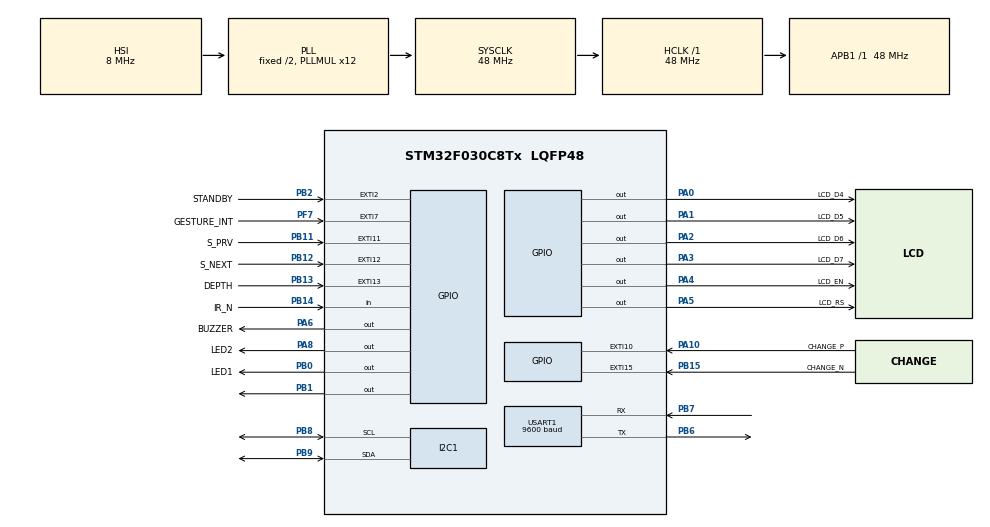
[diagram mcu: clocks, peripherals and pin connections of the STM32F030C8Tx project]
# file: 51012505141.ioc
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FREERTOS.Tasks01=GestureManager,8,128,GestureManagerTask,Default,NULL,Dynamic,NULL,NULL;InputManager,40,128,InputManagerTask,Default,NULL,Dynamic,NULL,NULL
FREERTOS.configTOTAL_HEAP_SIZE=2048
I2C1.Timing=0x10805D88
Mcu.Family=STM32F0
Mcu.Name=STM32F030C8Tx
Mcu.Package=LQFP48
NVIC.EXTI4_15_IRQn=true\:3\:0\:false\:false\:true\:true\:true\:true\:true
NVIC.USART1_IRQn=true\:3\:0\:false\:false\:true\:true\:true\:true\:true
PA0.GPIO_Label=LCD_D4
PA0.Signal=GPIO_Output
PA1.GPIO_Label=LCD_D5
PA1.Signal=GPIO_Output
PA10.GPIO_Label=CHANGE_P
PA10.GPIO_ModeDefaultEXTI=GPIO_MODE_IT_RISING_FALLING
PA10.Signal=GPXTI10
PA13.Mode=Serial_Wire
PA13.Signal=SYS_SWDIO
PA14.Mode=Serial_Wire
PA14.Signal=SYS_SWCLK
PA2.GPIO_Label=LCD_D6
PA2.Signal=GPIO_Output
PA3.GPIO_Label=LCD_D7
PA3.Signal=GPIO_Output
PA4.GPIO_Label=LCD_EN
PA4.Signal=GPIO_Output
PA5.GPIO_Label=LCD_RS
PA5.Signal=GPIO_Output
PA6.GPIO_Label=BUZZER
PA6.Signal=GPIO_Output
PA8.GPIO_Label=LED2
PA8.Signal=GPIO_Output
PB0.GPIO_Label=LED1
PB0.Signal=GPIO_Output
PB1.Signal=GPIO_Output
PB11.GPIO_Label=S_PRV
PB11.GPIO_ModeDefaultEXTI=GPIO_MODE_IT_RISING_FALLING
PB11.Signal=GPXTI11
PB12.GPIO_Label=S_NEXT
PB12.GPIO_ModeDefaultEXTI=GPIO_MODE_IT_RISING_FALLING
PB12.Signal=GPXTI12
PB13.GPIO_Label=DEPTH
PB13.GPIO_ModeDefaultEXTI=GPIO_MODE_IT_RISING_FALLING
PB13.Signal=GPXTI13
PB14.GPIO_Label=IR_N
PB14.Signal=GPIO_Input
PB15.GPIO_Label=CHANGE_N
PB15.GPIO_ModeDefaultEXTI=GPIO_MODE_IT_RISING_FALLING
PB15.Signal=GPXTI15
PB2.GPIO_Label=STANDBY
PB2.GPIO_ModeDefaultEXTI=GPIO_MODE_IT_RISING_FALLING
PB2.Signal=GPXTI2
PB6.Mode=Asynchronous
PB6.Signal=USART1_TX
PB7.Mode=Asynchronous
PB7.Signal=USART1_RX
PB8.Mode=I2C
PB8.Signal=I2C1_SCL
PB9.Mode=I2C
PB9.Signal=I2C1_SDA
PF7.GPIO_Label=GESTURE_INT
PF7.GPIO_PuPd=GPIO_PULLUP
PF7.Signal=GPXTI7
ProjectManager.HeapSize=0x200
ProjectManager.StackSize=0x400
ProjectManager.TargetToolchain=STM32CubeIDE
RCC.AHBFreq_Value=48000000
RCC.APB1Freq_Value=48000000
RCC.APB1TimFreq_Value=48000000
RCC.HCLKFreq_Value=48000000
RCC.I2c1ClockSelection=RCC_I2C1CLKSOURCE_SYSCLK
RCC.PLLMUL=RCC_PLL_MUL12
RCC.SYSCLKFreq_VALUE=48000000
RCC.SYSCLKSource=RCC_SYSCLKSOURCE_PLLCLK
USART1.BaudRate=9600
USART1.Mode=MODE_TX
USART1.VirtualMode-Asynchronous=VM_ASYNC
VP_FREERTOS_VS_CMSIS_V2.Mode=CMSIS_V2
board=custom

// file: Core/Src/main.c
/* USER CODE BEGIN Header */
/**
 ******************************************************************************
 * @file           : main.c
 * @brief          : Main program body
 ******************************************************************************
 * @attention
 *
 * Copyright (c) 2025 STMicroelectronics.
 * All rights reserved.
 *
 * This software is licensed under terms that can be found in the LICENSE file
 * in the root directory of this software component.
 * If no LICENSE file comes with this software, it is provided AS-IS.
 *
 ******************************************************************************
 */
/* USER CODE END Header */
#include "main.h"
#include "cmsis_os.h"

/* USER CODE BEGIN Includes */
#include <stdio.h>      // Needed for printf
#include "gesture.h"  // Ensure this header is included
//#include "gesture.h"
/* USER CODE END Includes */

I2C_HandleTypeDef hi2c1;

UART_HandleTypeDef huart1;

/* Definitions for GestureManager */
osThreadId_t GestureManagerHandle;
const osThreadAttr_t GestureManager_attributes = {
  .name = "GestureManager",
  .stack_size = 128 * 4,
  .priority = (osPriority_t) osPriorityLow,
};
/* Definitions for InputManager */
osThreadId_t InputManagerHandle;
const osThreadAttr_t InputManager_attributes = {
  .name = "InputManager",
  .stack_size = 128 * 4,
  .priority = (osPriority_t) osPriorityHigh,
};

void SystemClock_Config(void);
static void MX_GPIO_Init(void);
static void MX_USART1_UART_Init(void);
static void MX_I2C1_Init(void);
void GestureManagerTask(void *argument);
void InputManagerTask(void *argument);

/* USER CODE BEGIN 0 */

uint8_t ges_type = 0;
void MyGestureEventHandler(InputAction event) {
	InputEvent input_event = { .source = INPUT_SOURCE_GESTURE };

	// Map gesture events to input actions
	switch (event) {
	case INPUT_MOVE_DOWN:
		input_event.action = INPUT_MOVE_DOWN;
		ges_type = 1;
		break;

	case INPUT_MOVE_UP:
		input_event.action = INPUT_MOVE_UP;
		ges_type = 0;
		break;

	case INPUT_BACK:
		input_event.action = INPUT_BACK;
		ges_type = 2;
		break;

	case INPUT_SELECT:
		input_event.action = INPUT_SELECT;
		ges_type = 3;
		break;

	default:
		return; // Ignore unknown gestures
	}

	// Enqueue the mapped input event
	enqueue_event(input_event);
}

void HAL_GPIO_EXTI_Callback(uint16_t GPIO_Pin) {
	ButtonManager_HandleInterrupt(GPIO_Pin); // Forward the interrupt to the Button Manager
}

void MyButtonEventHandler(ButtonEvent *event) {
	InputEvent input_event = { .source = INPUT_SOURCE_BUTTON }; // For input manager add data to queue

	// Map button ID and action to input events
	switch (event->action) {
	case BUTTON_ACTION_SHORT_PRESS:
		input_event.action =
				(event->button_id == 1) ? INPUT_MOVE_DOWN :
				(event->button_id == 0) ? INPUT_MOVE_UP :
				(event->button_id == 2) ? INPUT_SELECT :
				(event->button_id == 3) ? INPUT_BACK : INPUT_DEPTH; // DEPTH for button_id 4
		break;

//	case BUTTON_ACTION_LONG_PRESS:
//		input_event.action =
//				(event->button_id == 0) ? INPUT_LONG_MOVE_DOWN :
//				(event->button_id == 1) ? INPUT_LONG_MOVE_UP :
//				(event->button_id == 2) ? INPUT_LONG_SELECT :
//				(event->button_id == 3) ? INPUT_LONG_BACK : INPUT_LONG_DEPTH; // Long DEPTH for button_id 4
//		break;
	}

	enqueue_event(input_event); // Enqueue the mapped input event
}

int __io_putchar(int ch) {
//    HAL_UART_Transmit(&huart2, (uint8_t *)&ch, 1, HAL_MAX_DELAY);
    return ch;
}

extern volatile uint8_t newData;

void ResetUART(void) {
	 HAL_UART_DeInit(&huart1);
	 MX_USART1_UART_Init();
	  HAL_UART_Receive_IT(&huart1, getRxBuffer(), 1);
}
/* USER CODE END 0 */

int main(void)
{

  /* MCU Configuration--------------------------------------------------------*/

  /* Reset of all peripherals, Initializes the Flash interface and the Systick. */
  HAL_Init();

  /* Configure the system clock */
  SystemClock_Config();

  /* Initialize all configured peripherals */
  MX_GPIO_Init();
  MX_USART1_UART_Init();
  MX_I2C1_Init();

  /* Init scheduler */
  osKernelInitialize();

  /* USER CODE BEGIN RTOS_SEMAPHORES */
	/* add semaphores, ... */
//  ResetUART();
  /* USER CODE END RTOS_SEMAPHORES */

  /* Create the thread(s) */
  /* creation of GestureManager */
  GestureManagerHandle = osThreadNew(GestureManagerTask, NULL, &GestureManager_attributes);

  /* creation of InputManager */
  InputManagerHandle = osThreadNew(InputManagerTask, NULL, &InputManager_attributes);

  /* USER CODE BEGIN RTOS_THREADS */
	/* add threads, ... */
	ButtonManager_Init(MyButtonEventHandler);

  /* USER CODE END RTOS_THREADS */

  /* USER CODE BEGIN RTOS_EVENTS */
	/* add events, ... */

	 UART_Packet_Init(&huart1);
//	 initI2CSemaphore();  // Create the semaphore
  /* USER CODE END RTOS_EVENTS */

  /* Start scheduler */
  osKernelStart();

  /* We should never get here as control is now taken by the scheduler */

  /* Infinite loop */
  /* USER CODE BEGIN WHILE */
	while (1) {
		if (isDataReady()) {
			uint8_t *rxData = getRxBuffer(); // Retrieve the buffer pointer
			process_uart_command((const char *)rxData);
			resetDataReady();
		}

    /* USER CODE END WHILE */

	}
}

void SystemClock_Config(void)
{
  RCC_OscInitTypeDef RCC_OscInitStruct = {0};
  RCC_ClkInitTypeDef RCC_ClkInitStruct = {0};
  RCC_PeriphCLKInitTypeDef PeriphClkInit = {0};

  /** Initializes the RCC Oscillators according to the specified parameters
  * in the RCC_OscInitTypeDef structure.
  */
  RCC_OscInitStruct.OscillatorType = RCC_OSCILLATORTYPE_HSI;
  RCC_OscInitStruct.HSIState = RCC_HSI_ON;
  RCC_OscInitStruct.HSICalibrationValue = RCC_HSICALIBRATION_DEFAULT;
  RCC_OscInitStruct.PLL.PLLState = RCC_PLL_ON;
  RCC_OscInitStruct.PLL.PLLSource = RCC_PLLSOURCE_HSI;
  RCC_OscInitStruct.PLL.PLLMUL = RCC_PLL_MUL12;
  RCC_OscInitStruct.PLL.PREDIV = RCC_PREDIV_DIV1;
  if (HAL_RCC_OscConfig(&RCC_OscInitStruct) != HAL_OK)
  {
    Error_Handler();
  }

  /** Initializes the CPU, AHB and APB buses clocks
  */
  RCC_ClkInitStruct.ClockType = RCC_CLOCKTYPE_HCLK|RCC_CLOCKTYPE_SYSCLK
                              |RCC_CLOCKTYPE_PCLK1;
  RCC_ClkInitStruct.SYSCLKSource = RCC_SYSCLKSOURCE_PLLCLK;
  RCC_ClkInitStruct.AHBCLKDivider = RCC_SYSCLK_DIV1;
  RCC_ClkInitStruct.APB1CLKDivider = RCC_HCLK_DIV1;

  if (HAL_RCC_ClockConfig(&RCC_ClkInitStruct, FLASH_LATENCY_1) != HAL_OK)
  {
    Error_Handler();
  }
  PeriphClkInit.PeriphClockSelection = RCC_PERIPHCLK_USART1|RCC_PERIPHCLK_I2C1;
  PeriphClkInit.Usart1ClockSelection = RCC_USART1CLKSOURCE_PCLK1;
  PeriphClkInit.I2c1ClockSelection = RCC_I2C1CLKSOURCE_SYSCLK;
  if (HAL_RCCEx_PeriphCLKConfig(&PeriphClkInit) != HAL_OK)
  {
    Error_Handler();
  }
}

static void MX_I2C1_Init(void)
{

  hi2c1.Instance = I2C1;
  hi2c1.Init.Timing = 0x10805D88;
  hi2c1.Init.OwnAddress1 = 0;
  hi2c1.Init.AddressingMode = I2C_ADDRESSINGMODE_7BIT;
  hi2c1.Init.DualAddressMode = I2C_DUALADDRESS_DISABLE;
  hi2c1.Init.OwnAddress2 = 0;
  hi2c1.Init.OwnAddress2Masks = I2C_OA2_NOMASK;
  hi2c1.Init.GeneralCallMode = I2C_GENERALCALL_DISABLE;
  hi2c1.Init.NoStretchMode = I2C_NOSTRETCH_DISABLE;
  if (HAL_I2C_Init(&hi2c1) != HAL_OK)
  {
    Error_Handler();
  }

  /** Configure Analogue filter
  */
  if (HAL_I2CEx_ConfigAnalogFilter(&hi2c1, I2C_ANALOGFILTER_ENABLE) != HAL_OK)
  {
    Error_Handler();
  }

  /** Configure Digital filter
  */
  if (HAL_I2CEx_ConfigDigitalFilter(&hi2c1, 0) != HAL_OK)
  {
    Error_Handler();
  }

}

static void MX_USART1_UART_Init(void)
{

  huart1.Instance = USART1;
  huart1.Init.BaudRate = 9600;
  huart1.Init.WordLength = UART_WORDLENGTH_8B;
  huart1.Init.StopBits = UART_STOPBITS_1;
  huart1.Init.Parity = UART_PARITY_NONE;
  huart1.Init.Mode = UART_MODE_TX;
  huart1.Init.HwFlowCtl = UART_HWCONTROL_NONE;
  huart1.Init.OverSampling = UART_OVERSAMPLING_16;
  huart1.Init.OneBitSampling = UART_ONE_BIT_SAMPLE_DISABLE;
  huart1.AdvancedInit.AdvFeatureInit = UART_ADVFEATURE_NO_INIT;
  if (HAL_UART_Init(&huart1) != HAL_OK)
  {
    Error_Handler();
  }

}

static void MX_GPIO_Init(void)
{
  GPIO_InitTypeDef GPIO_InitStruct = {0};

  /* GPIO Ports Clock Enable */
  __HAL_RCC_GPIOA_CLK_ENABLE();
  __HAL_RCC_GPIOB_CLK_ENABLE();
  __HAL_RCC_GPIOF_CLK_ENABLE();

  /*Configure GPIO pin Output Level */
  HAL_GPIO_WritePin(GPIOA, LCD_D4_Pin|LCD_D5_Pin|LCD_D6_Pin|LCD_D7_Pin
                          |LCD_EN_Pin|LCD_RS_Pin|BUZZER_Pin|LED2_Pin, GPIO_PIN_RESET);

  /*Configure GPIO pin Output Level */
  HAL_GPIO_WritePin(GPIOB, LED1_Pin|GPIO_PIN_1, GPIO_PIN_RESET);

  /*Configure GPIO pins : LCD_D4_Pin LCD_D5_Pin LCD_D6_Pin LCD_D7_Pin
                           LCD_EN_Pin LCD_RS_Pin BUZZER_Pin LED2_Pin */
  GPIO_InitStruct.Pin = LCD_D4_Pin|LCD_D5_Pin|LCD_D6_Pin|LCD_D7_Pin
                          |LCD_EN_Pin|LCD_RS_Pin|BUZZER_Pin|LED2_Pin;
  GPIO_InitStruct.Mode = GPIO_MODE_OUTPUT_PP;
  GPIO_InitStruct.Pull = GPIO_NOPULL;
  GPIO_InitStruct.Speed = GPIO_SPEED_FREQ_LOW;
  HAL_GPIO_Init(GPIOA, &GPIO_InitStruct);

  /*Configure GPIO pins : LED1_Pin PB1 */
  GPIO_InitStruct.Pin = LED1_Pin|GPIO_PIN_1;
  GPIO_InitStruct.Mode = GPIO_MODE_OUTPUT_PP;
  GPIO_InitStruct.Pull = GPIO_NOPULL;
  GPIO_InitStruct.Speed = GPIO_SPEED_FREQ_LOW;
  HAL_GPIO_Init(GPIOB, &GPIO_InitStruct);

  /*Configure GPIO pins : STANDBY_Pin S_PRV_Pin S_NEXT_Pin DEPTH_Pin
                           CHANGE_N_Pin */
  GPIO_InitStruct.Pin = STANDBY_Pin|S_PRV_Pin|S_NEXT_Pin|DEPTH_Pin
                          |CHANGE_N_Pin;
  GPIO_InitStruct.Mode = GPIO_MODE_IT_RISING_FALLING;
  GPIO_InitStruct.Pull = GPIO_NOPULL;
  HAL_GPIO_Init(GPIOB, &GPIO_InitStruct);

  /*Configure GPIO pin : IR_N_Pin */
  GPIO_InitStruct.Pin = IR_N_Pin;
  GPIO_InitStruct.Mode = GPIO_MODE_INPUT;
  GPIO_InitStruct.Pull = GPIO_NOPULL;
  HAL_GPIO_Init(IR_N_GPIO_Port, &GPIO_InitStruct);

  /*Configure GPIO pin : CHANGE_P_Pin */
  GPIO_InitStruct.Pin = CHANGE_P_Pin;
  GPIO_InitStruct.Mode = GPIO_MODE_IT_RISING_FALLING;
  GPIO_InitStruct.Pull = GPIO_NOPULL;
  HAL_GPIO_Init(CHANGE_P_GPIO_Port, &GPIO_InitStruct);

  /*Configure GPIO pin : GESTURE_INT_Pin */
  GPIO_InitStruct.Pin = GESTURE_INT_Pin;
  GPIO_InitStruct.Mode = GPIO_MODE_IT_RISING;
  GPIO_InitStruct.Pull = GPIO_PULLUP;
  HAL_GPIO_Init(GESTURE_INT_GPIO_Port, &GPIO_InitStruct);

  /* EXTI interrupt init*/
  HAL_NVIC_SetPriority(EXTI4_15_IRQn, 3, 0);
  HAL_NVIC_EnableIRQ(EXTI4_15_IRQn);

}

/* USER CODE BEGIN Header_GestureManagerTask */

int8_t mylastgesture = 0;

/**
 * @brief  Function implementing the GestureManager thread.
 * @param  argument: Not used
 * @retval None
 */
/* USER CODE END Header_GestureManagerTask */
void GestureManagerTask(void *argument)
{
  /* USER CODE BEGIN 5 */
	/* Infinite loop */
//	LCD_Init();
//	init_screen1(0);
	//----------------
	init_gesture();

//	sensor_state = 1;
	for (;;) {

		if (isDataReady()) {
			uint8_t *rxData = getRxBuffer(); // Retrieve the buffer pointer
			process_uart_command((const char *)rxData);
			resetDataReady();
		}
		process_input_events();
		//------------------------
		init_gesture();
		if (sensor_state == 1)
		{
			gestureAvailable();
		       if(newData )
		       {

		    	   mylastgesture = readGesture();
		    	   MyGestureEventHandler(mylastgesture);
		    	   newData = 0;
		       }
		}

		osDelay(pdMS_TO_TICKS(5));
	}
  /* USER CODE END 5 */
}

void InputManagerTask(void *argument)
{
  /* USER CODE BEGIN InputManagerTask */
	LCD_Init();
	init_screen1(0);
	/* Infinite loop */
	for (;;) {
//		if (isDataReady()) {
//			uint8_t *rxData = getRxBuffer(); // Retrieve the buffer pointer
//			process_uart_command((const char *)rxData);
//			resetDataReady();
//		}
//		process_input_events();
		osDelay(pdMS_TO_TICKS(1000)); // Task delay
	}
  /* USER CODE END InputManagerTask */
}

void Error_Handler(void)
{
	__disable_irq();
	while (1) {
	}
}
